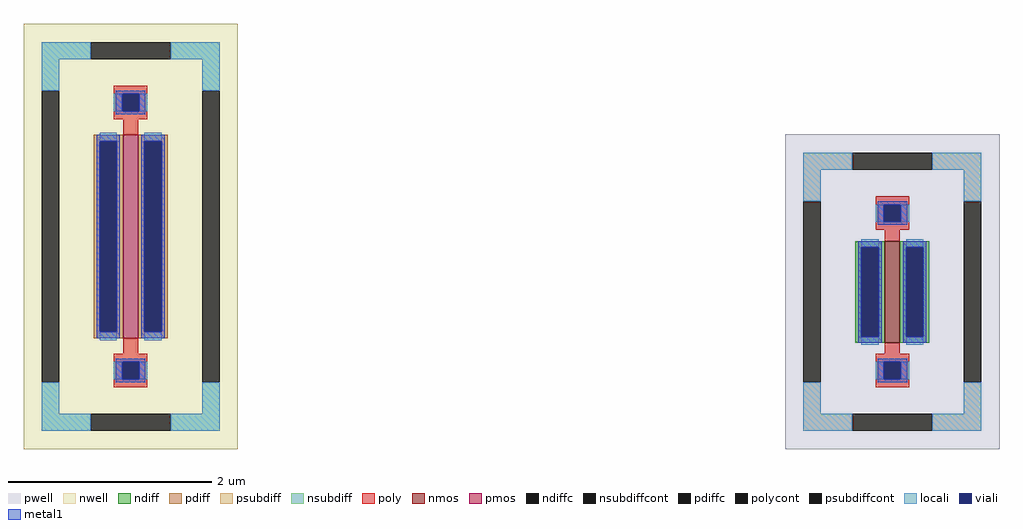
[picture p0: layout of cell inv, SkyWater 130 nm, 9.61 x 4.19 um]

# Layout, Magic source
magic
tech sky130A
magscale 1 2
use sky130_fd_pr__nfet_01v8_ULRDXM  M1
transform 1 0 1858 0 1 257
box -211 -310 211 310
use sky130_fd_pr__pfet_01v8_GDNBJZ  M2
transform 1 0 358 0 1 366
box -211 -419 211 419
<< end >>

# cell sky130_fd_pr__nfet_01v8_ULRDXM: kit device sky130_fd_pr__nfet_01v8, w 1 l 0.15 m 1 nf 1 diffcov 100 polycov 100 guard 1 glc 1 grc 1 gtc 1 gbc 1 tbcov 100 rlcov 100 topc 1 botc 1 poverlap 0 doverlap 1 lmin 0.15 wmin 0.42 class mosfet compatible {sky130_fd_pr__nfet_01v8 sky130_fd_pr__nfet_01v8_lvt sky130_fd_bs_flash__special_sonosfet_star sky130_fd_pr__nfet_g5v0d10v5 sky130_fd_pr__nfet_05v0_nvt sky130_fd_pr__nfet_03v3_nvt} full_metal 1 viasrc 100 viadrn 100 viagate 100 viagb 0 viagr 0 viagl 0 viagt 0 doports 1

# cell sky130_fd_pr__pfet_01v8_GDNBJZ: kit device sky130_fd_pr__pfet_01v8, w 2 l 0.15 m 1 nf 1 diffcov 100 polycov 100 guard 1 glc 1 grc 1 gtc 1 gbc 1 tbcov 100 rlcov 100 topc 1 botc 1 poverlap 0 doverlap 1 lmin 0.15 wmin 0.42 class mosfet compatible {sky130_fd_pr__pfet_01v8 sky130_fd_pr__pfet_01v8_lvt sky130_fd_pr__pfet_01v8_hvt sky130_fd_pr__pfet_g5v0d10v5} full_metal 1 viasrc 100 viadrn 100 viagate 100 viagb 0 viagr 0 viagl 0 viagt 0 doports 1
